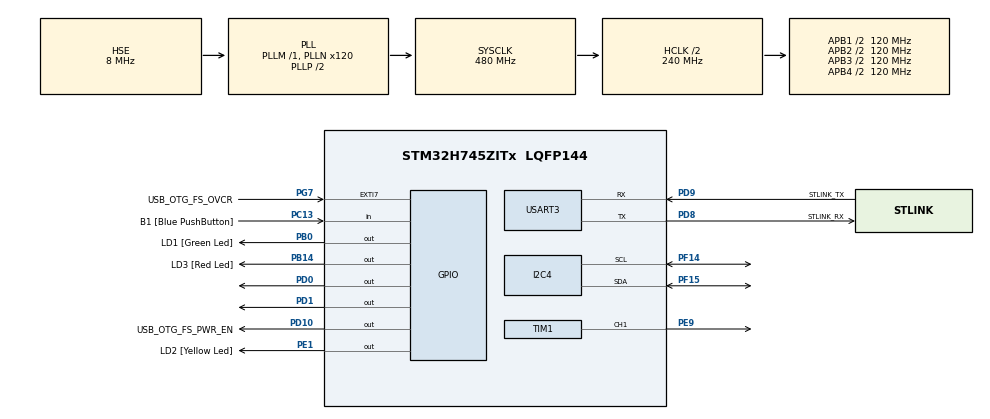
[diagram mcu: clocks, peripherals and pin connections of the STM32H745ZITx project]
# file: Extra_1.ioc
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CortexM4.IPs=FATFS_M4\:I,FREERTOS_M4\:I,IWDG2\:I,RCC,WWDG2\:I,DMA,BDMA,MDMA,NVIC2\:I,DEBUG,USB_DEVICE_M4\:I,USB_HOST_M4\:I,PDM2PCM_M4\:I,PWR,RESMGR_UTILITY,SYS_M4\:I,CORTEX_M4\:I,OPENAMP_M4\:I,VREFBUF,GPIO
CortexM7.IPs=FATFS_M7\:I,FREERTOS_M7\:I,IWDG1\:I,RCC\:I,WWDG1\:I,DMA\:I,BDMA\:I,MDMA\:I,NVIC1\:I,SYS\:I,USART3\:I,CORTEX_M7\:I,DEBUG\:I,USB_DEVICE_M7\:I,USB_HOST_M7\:I,PDM2PCM_M7\:I,PWR\:I,RESMGR_UTILITY\:I,OPENAMP_M7\:I,VREFBUF\:I,GPIO\:I,TIM1\:I,TIM2\:I,TIM5\:I,I2C4\:I
CortexM7.Pins=PB0,PB14,PD0,PD1,PE1
I2C4.Timing=0x307075B1
Mcu.Family=STM32H7
Mcu.Name=STM32H745ZITx
Mcu.Package=LQFP144
NVIC1.PriorityGroup=NVIC_PRIORITYGROUP_4
NVIC1.TIM2_IRQn=true\:0\:0\:false\:false\:true\:true\:true\:true
NVIC2.PriorityGroup=NVIC_PRIORITYGROUP_4
PA1.PinAttribute=CortexM7
PA1.Signal=ETH_REF_CLK
PA11.PinAttribute=CortexM7
PA11.Signal=USB_OTG_FS_DM
PA12.PinAttribute=CortexM7
PA12.Signal=USB_OTG_FS_DP
PA2.PinAttribute=CortexM7
PA2.Signal=ETH_MDIO
PA7.PinAttribute=CortexM7
PA7.Signal=ETH_CRS_DV
PA8.PinAttribute=CortexM7
PA8.Signal=USB_OTG_FS_SOF
PA9.PinAttribute=CortexM7
PA9.Signal=USB_OTG_FS_VBUS
PB0.GPIO_Label=LD1 [Green Led]
PB0.GPIO_PuPd=GPIO_PULLDOWN
PB0.GPIO_Speed=GPIO_SPEED_FREQ_HIGH
PB0.PinAttribute=CortexM7
PB0.Signal=GPIO_Output
PB13.PinAttribute=CortexM7
PB13.Signal=ETH_TXD1
PB14.GPIO_Label=LD3 [Red Led]
PB14.GPIO_PuPd=GPIO_PULLDOWN
PB14.GPIO_Speed=GPIO_SPEED_FREQ_HIGH
PB14.PinAttribute=CortexM7
PB14.Signal=GPIO_Output
PC1.PinAttribute=CortexM7
PC1.Signal=ETH_MDC
PC13.GPIO_Label=B1 [Blue PushButton]
PC13.PinAttribute=Free
PC13.Signal=GPIO_Input
PC14-OSC32_IN\ (OSC32_IN).Mode=LSE-External-Oscillator
PC14-OSC32_IN\ (OSC32_IN).PinAttribute=CortexM7
PC14-OSC32_IN\ (OSC32_IN).Signal=RCC_OSC32_IN
PC15-OSC32_OUT\ (OSC32_OUT).Mode=LSE-External-Oscillator
PC15-OSC32_OUT\ (OSC32_OUT).PinAttribute=CortexM7
PC15-OSC32_OUT\ (OSC32_OUT).Signal=RCC_OSC32_OUT
PC4.PinAttribute=CortexM7
PC4.Signal=ETH_RXD0
PC5.PinAttribute=CortexM7
PC5.Signal=ETH_RXD1
PD0.GPIO_PuPd=GPIO_PULLDOWN
PD0.GPIO_Speed=GPIO_SPEED_FREQ_HIGH
PD0.PinAttribute=CortexM7
PD0.Signal=GPIO_Output
PD1.GPIO_PuPd=GPIO_PULLDOWN
PD1.GPIO_Speed=GPIO_SPEED_FREQ_HIGH
PD1.PinAttribute=CortexM7
PD1.Signal=GPIO_Output
PD10.GPIO_Label=USB_OTG_FS_PWR_EN
PD10.PinAttribute=Free
PD10.Signal=GPIO_Output
PD8.GPIO_Label=STLINK_RX
PD8.Mode=Asynchronous
PD8.PinAttribute=CortexM7
PD8.Signal=USART3_TX
PD9.GPIO_Label=STLINK_TX
PD9.Mode=Asynchronous
PD9.PinAttribute=CortexM7
PD9.Signal=USART3_RX
PE1.GPIO_Label=LD2 [Yellow Led]
PE1.GPIO_PuPd=GPIO_PULLDOWN
PE1.GPIO_Speed=GPIO_SPEED_FREQ_HIGH
PE1.PinAttribute=CortexM7
PE1.Signal=GPIO_Output
PE9.PinAttribute=CortexM7
PE9.Signal=S_TIM1_CH1
PF14.Mode=I2C
PF14.PinAttribute=CortexM7
PF14.Signal=I2C4_SCL
PF15.Mode=I2C
PF15.PinAttribute=CortexM7
PF15.Signal=I2C4_SDA
PG11.PinAttribute=CortexM7
PG11.Signal=ETH_TX_EN
PG13.PinAttribute=CortexM7
PG13.Signal=ETH_TXD0
PG7.GPIO_Label=USB_OTG_FS_OVCR
PG7.PinAttribute=Free
PG7.Signal=GPXTI7
PH0-OSC_IN\ (PH0).Mode=HSE-External-Clock-Source
PH0-OSC_IN\ (PH0).PinAttribute=CortexM7
PH0-OSC_IN\ (PH0).Signal=RCC_OSC_IN
PH1-OSC_OUT\ (PH1).PinAttribute=CortexM7
PH1-OSC_OUT\ (PH1).Signal=RCC_OSC_OUT
ProjectManager.HeapSize=M4-0x200,M7-0x200
ProjectManager.StackSize=M4-0x400,M7-0x400
ProjectManager.TargetToolchain=STM32CubeIDE
RCC.ADCFreq_Value=16125000
RCC.APB1Freq_Value=120000000
RCC.APB2Freq_Value=120000000
RCC.APB3Freq_Value=120000000
RCC.APB4Freq_Value=120000000
RCC.CortexFreq_Value=480000000
RCC.D1PPRE=RCC_APB3_DIV2
RCC.D2PPRE1=RCC_APB1_DIV2
RCC.D2PPRE2=RCC_APB2_DIV2
RCC.D3PPRE=RCC_APB4_DIV2
RCC.DIVM1=1
RCC.DIVM3=1
RCC.DIVN1=120
RCC.DIVN3=24
RCC.DIVQ3=4
RCC.HCLKFreq_Value=240000000
RCC.HPRE=RCC_HCLK_DIV2
RCC.HSE_VALUE=8000000
RCC.PLL2FRACN=0
RCC.PLL3FRACN=0
RCC.PLLFRACN=0
RCC.PLLSourceVirtual=RCC_PLLSOURCE_HSE
RCC.SYSCLKFreq_VALUE=480000000
RCC.SYSCLKSource=RCC_SYSCLKSOURCE_PLLCLK
RCC.SupplySource=PWR_DIRECT_SMPS_SUPPLY
RCC.USBCLockSelection=RCC_USBCLKSOURCE_PLL3
RCC.USBFreq_Value=48000000
SH.S_TIM1_CH1.0=TIM1_CH1,PWM Generation1 CH1
TIM1.Channel-PWM\ Generation1\ CH1=TIM_CHANNEL_1
TIM1.Period=100
TIM1.Prescaler=240
TIM2.Period=15625
TIM2.Prescaler=239
TIM5.Prescaler=230
USART3.VirtualMode-Asynchronous=VM_ASYNC
VP_SYS_M4_VS_Systick.Mode=SysTick
VP_TIM1_VS_ClockSourceINT.Mode=Internal
VP_TIM2_VS_ClockSourceINT.Mode=Internal
VP_TIM5_VS_ClockSourceINT.Mode=Internal
board=NUCLEO-H745ZI-Q

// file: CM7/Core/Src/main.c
/* USER CODE BEGIN Header */
/**
  ******************************************************************************
  * @file           : main.c
  * @brief          : Main program body
  ******************************************************************************
  * @attention
  *
  * Copyright (c) 2022 STMicroelectronics.
  * All rights reserved.
  *
  * This software is licensed under terms that can be found in the LICENSE file
  * in the root directory of this software component.
  * If no LICENSE file comes with this software, it is provided AS-IS.
  *
  ******************************************************************************
  */
/* USER CODE END Header */
#include "main.h"

/* USER CODE BEGIN Includes */
#include "fft.h"
#include <stdio.h>
#include <stdlib.h>
#include <string.h>
#include <math.h>
#include <complex.h>
/* USER CODE END Includes */

/* USER CODE BEGIN PTD */
#define MPU6050_ADDR 0xD0
#define WHO_AM_I 0x75
#define SMPLRT_DIV 0x19
#define GYRO_CONFIG 0x1B
#define GYRO_XOUT_H 0x43
#define PWR_MGMT_1 0x6B
/* USER CODE END PTD */

/* USER CODE BEGIN PD */

#ifndef HSEM_ID_0
#define HSEM_ID_0 (0U) /* HW semaphore 0*/
#endif
/* USER CODE END PD */

I2C_HandleTypeDef hi2c4;

TIM_HandleTypeDef htim1;
TIM_HandleTypeDef htim2;
TIM_HandleTypeDef htim5;

UART_HandleTypeDef huart3;

/* USER CODE BEGIN PV */
// Definción de variables complejas para la FFT
typedef float complex cplx;
cplx xFFT[64];
cplx yFFT[64];
cplx zFFT[64];

// Lectura del MPU6050
uint8_t check, data;

int16_t gyr_X_read = 0;
int16_t gyr_Y_read = 0;
int16_t gyr_Z_read = 0;

float gyr_X, gyr_Y, gyr_Z;

// Variables para el muestreo
int16_t limite_muestras = 64;
int16_t n_muestras = 0;
float muestras_x[64],  muestras_y[64], muestras_z[64];

// Variables UART
char uart_buf[50];
uint16_t uart_buf_len;

// Variables de comprobación de tiempo
unsigned timer_val;
/* USER CODE END PV */

void SystemClock_Config(void);
static void MX_GPIO_Init(void);
static void MX_USART3_UART_Init(void);
static void MX_TIM1_Init(void);
static void MX_TIM2_Init(void);
static void MX_I2C4_Init(void);
static void MX_TIM5_Init(void);
/* USER CODE BEGIN PFP */
static void MPU6050_init(void);
static void MPU6050_read_gyro(void);
static void printUART_int(char *string, int var);
static void printUART_array(float *arr, int size);
static void printUART_arrayCplx(cplx *arr, int size);
/* USER CODE END PFP */

int main(void)
{
/* USER CODE BEGIN Boot_Mode_Sequence_0 */
  int32_t timeout;
/* USER CODE END Boot_Mode_Sequence_0 */

/* USER CODE BEGIN Boot_Mode_Sequence_1 */
  /* Wait until CPU2 boots and enters in stop mode or timeout*/
  timeout = 0xFFFF;
  while((__HAL_RCC_GET_FLAG(RCC_FLAG_D2CKRDY) != RESET) && (timeout-- > 0));
  if ( timeout < 0 )
  {
  Error_Handler();
  }
/* USER CODE END Boot_Mode_Sequence_1 */
  /* MCU Configuration--------------------------------------------------------*/

  /* Reset of all peripherals, Initializes the Flash interface and the Systick. */
  HAL_Init();

  /* Configure the system clock */
  SystemClock_Config();
/* USER CODE BEGIN Boot_Mode_Sequence_2 */
/* When system initialization is finished, Cortex-M7 will release Cortex-M4 by means of
HSEM notification */
/*HW semaphore Clock enable*/
__HAL_RCC_HSEM_CLK_ENABLE();
/*Take HSEM */
HAL_HSEM_FastTake(HSEM_ID_0);
/*Release HSEM in order to notify the CPU2(CM4)*/
HAL_HSEM_Release(HSEM_ID_0,0);
/* wait until CPU2 wakes up from stop mode */
timeout = 0xFFFF;
while((__HAL_RCC_GET_FLAG(RCC_FLAG_D2CKRDY) == RESET) && (timeout-- > 0));
if ( timeout < 0 )
{
Error_Handler();
}
/* USER CODE END Boot_Mode_Sequence_2 */

  /* Initialize all configured peripherals */
  MX_GPIO_Init();
  MX_USART3_UART_Init();
  MX_TIM1_Init();
  MX_TIM2_Init();
  MX_I2C4_Init();
  MX_TIM5_Init();
  /* USER CODE BEGIN 2 */
  // Revisión de conexión del MPU6050
  HAL_StatusTypeDef status;
  status = HAL_I2C_IsDeviceReady(&hi2c4, MPU6050_ADDR, 1, 3000);
  if (status == HAL_OK) HAL_GPIO_WritePin(GPIOB, GPIO_PIN_0, SET);
  else HAL_GPIO_WritePin(GPIOB, GPIO_PIN_14, SET);
  HAL_Delay(500);
  MPU6050_init();								/* Inicialización  de configuración
      	  	  	  	  	  	  	  	  	  	  	  del MPU6050 */

  // Inicialización del contador
  HAL_TIM_Base_Start(&htim5); 					// Incialización del timer 5

  // Inicialización del PWM
  HAL_TIM_PWM_Init(&htim1);
  HAL_TIM_PWM_Start(&htim1, TIM_CHANNEL_1);
  TIM1->CCR1 = 70;								// 70% de ciclo útil

  // Entradas de polaridad del L298N
  HAL_GPIO_WritePin(GPIOD, GPIO_PIN_0, SET);	// In 1
  HAL_GPIO_WritePin(GPIOD, GPIO_PIN_1, RESET);	// In 2

  // Prueba de comunicación UART
  printUART_int("MPU6050 test\r\n", 0);

  // Inicialización de la interrupción por timer
  HAL_TIM_Base_Start_IT(&htim2);				// Inicialización del timer 2

  /* USER CODE END 2 */

  /* Infinite loop */
  while (1)
  {

    /* USER CODE BEGIN 3 */
	  if(n_muestras == limite_muestras){
	  		  printUART_int("Muestras: %u \r\n", n_muestras);	// Comprobación del número de muestras
	  		  HAL_TIM_Base_Stop_IT(&htim2);					  	// Desactivación de la interrupción
	  		  HAL_Delay(50);

	  		  // Comprobación del tiempo de muestreo
	  		  timer_val = __HAL_TIM_GET_COUNTER(&htim5) - timer_val;
	  		  printUART_int("Tiempo transcurrido: %u us \r\n", timer_val);

	  		  // Impresión de las muestras originales
	  		  printUART_int("Eje X: ", 0);
	  		  printUART_array(muestras_x, sizeof(muestras_x)/sizeof(muestras_x[0]));
	  		  printUART_int("Eje Y: ", 0);
	  		  printUART_array(muestras_y, sizeof(muestras_y)/sizeof(muestras_y[0]));
	  		  printUART_int("Eje Z: ", 0);
	  		  printUART_array(muestras_z, sizeof(muestras_z)/sizeof(muestras_z[0]));

	  		  // Cálculo de la transformada rápida de Fourier
	  		  fft(muestras_x, sizeof(muestras_x)/sizeof(muestras_x[0]), xFFT);
	  		  HAL_Delay(50);
	  		  fft(muestras_y, sizeof(muestras_y)/sizeof(muestras_y[0]), yFFT);
	  		  HAL_Delay(50);
	  		  fft(muestras_z, sizeof(muestras_z)/sizeof(muestras_z[0]), zFFT);
	  		  HAL_Delay(50);

	  		  // Impresión de las transformadas de Fourier
	  		  printUART_int("FFT X: ", 0);
	  		  printUART_arrayCplx(xFFT, sizeof(muestras_x)/sizeof(muestras_x[0]));
	  		  printUART_int("FFT Y: ", 0);
	  		  printUART_arrayCplx(yFFT, sizeof(muestras_y)/sizeof(muestras_y[0]));
	  		  printUART_int("FFT Z: ", 0);
	  		  printUART_arrayCplx(zFFT, sizeof(muestras_z)/sizeof(muestras_z[0]));
	  		  HAL_Delay(50);

	  		  n_muestras = 0;									// Reinicio del contador de muestras
	  		  HAL_TIM_Base_Start_IT(&htim2);					// Reinicio de la interrupción
	  	  }
  }
  /* USER CODE END 3 */
}

void SystemClock_Config(void)
{
  RCC_OscInitTypeDef RCC_OscInitStruct = {0};
  RCC_ClkInitTypeDef RCC_ClkInitStruct = {0};

  /** Supply configuration update enable
  */
  HAL_PWREx_ConfigSupply(PWR_DIRECT_SMPS_SUPPLY);

  /** Configure the main internal regulator output voltage
  */
  __HAL_PWR_VOLTAGESCALING_CONFIG(PWR_REGULATOR_VOLTAGE_SCALE0);

  while(!__HAL_PWR_GET_FLAG(PWR_FLAG_VOSRDY)) {}

  /** Initializes the RCC Oscillators according to the specified parameters
  * in the RCC_OscInitTypeDef structure.
  */
  RCC_OscInitStruct.OscillatorType = RCC_OSCILLATORTYPE_HSE;
  RCC_OscInitStruct.HSEState = RCC_HSE_BYPASS;
  RCC_OscInitStruct.PLL.PLLState = RCC_PLL_ON;
  RCC_OscInitStruct.PLL.PLLSource = RCC_PLLSOURCE_HSE;
  RCC_OscInitStruct.PLL.PLLM = 1;
  RCC_OscInitStruct.PLL.PLLN = 120;
  RCC_OscInitStruct.PLL.PLLP = 2;
  RCC_OscInitStruct.PLL.PLLQ = 2;
  RCC_OscInitStruct.PLL.PLLR = 2;
  RCC_OscInitStruct.PLL.PLLRGE = RCC_PLL1VCIRANGE_3;
  RCC_OscInitStruct.PLL.PLLVCOSEL = RCC_PLL1VCOWIDE;
  RCC_OscInitStruct.PLL.PLLFRACN = 0;
  if (HAL_RCC_OscConfig(&RCC_OscInitStruct) != HAL_OK)
  {
    Error_Handler();
  }

  /** Initializes the CPU, AHB and APB buses clocks
  */
  RCC_ClkInitStruct.ClockType = RCC_CLOCKTYPE_HCLK|RCC_CLOCKTYPE_SYSCLK
                              |RCC_CLOCKTYPE_PCLK1|RCC_CLOCKTYPE_PCLK2
                              |RCC_CLOCKTYPE_D3PCLK1|RCC_CLOCKTYPE_D1PCLK1;
  RCC_ClkInitStruct.SYSCLKSource = RCC_SYSCLKSOURCE_PLLCLK;
  RCC_ClkInitStruct.SYSCLKDivider = RCC_SYSCLK_DIV1;
  RCC_ClkInitStruct.AHBCLKDivider = RCC_HCLK_DIV2;
  RCC_ClkInitStruct.APB3CLKDivider = RCC_APB3_DIV2;
  RCC_ClkInitStruct.APB1CLKDivider = RCC_APB1_DIV2;
  RCC_ClkInitStruct.APB2CLKDivider = RCC_APB2_DIV2;
  RCC_ClkInitStruct.APB4CLKDivider = RCC_APB4_DIV2;

  if (HAL_RCC_ClockConfig(&RCC_ClkInitStruct, FLASH_LATENCY_4) != HAL_OK)
  {
    Error_Handler();
  }
}

static void MX_I2C4_Init(void)
{

  hi2c4.Instance = I2C4;
  hi2c4.Init.Timing = 0x307075B1;
  hi2c4.Init.OwnAddress1 = 0;
  hi2c4.Init.AddressingMode = I2C_ADDRESSINGMODE_7BIT;
  hi2c4.Init.DualAddressMode = I2C_DUALADDRESS_DISABLE;
  hi2c4.Init.OwnAddress2 = 0;
  hi2c4.Init.OwnAddress2Masks = I2C_OA2_NOMASK;
  hi2c4.Init.GeneralCallMode = I2C_GENERALCALL_DISABLE;
  hi2c4.Init.NoStretchMode = I2C_NOSTRETCH_DISABLE;
  if (HAL_I2C_Init(&hi2c4) != HAL_OK)
  {
    Error_Handler();
  }

  /** Configure Analogue filter
  */
  if (HAL_I2CEx_ConfigAnalogFilter(&hi2c4, I2C_ANALOGFILTER_ENABLE) != HAL_OK)
  {
    Error_Handler();
  }

  /** Configure Digital filter
  */
  if (HAL_I2CEx_ConfigDigitalFilter(&hi2c4, 0) != HAL_OK)
  {
    Error_Handler();
  }

}

static void MX_TIM1_Init(void)
{

  TIM_ClockConfigTypeDef sClockSourceConfig = {0};
  TIM_MasterConfigTypeDef sMasterConfig = {0};
  TIM_OC_InitTypeDef sConfigOC = {0};
  TIM_BreakDeadTimeConfigTypeDef sBreakDeadTimeConfig = {0};

  htim1.Instance = TIM1;
  htim1.Init.Prescaler = 240;
  htim1.Init.CounterMode = TIM_COUNTERMODE_UP;
  htim1.Init.Period = 100;
  htim1.Init.ClockDivision = TIM_CLOCKDIVISION_DIV1;
  htim1.Init.RepetitionCounter = 0;
  htim1.Init.AutoReloadPreload = TIM_AUTORELOAD_PRELOAD_DISABLE;
  if (HAL_TIM_Base_Init(&htim1) != HAL_OK)
  {
    Error_Handler();
  }
  sClockSourceConfig.ClockSource = TIM_CLOCKSOURCE_INTERNAL;
  if (HAL_TIM_ConfigClockSource(&htim1, &sClockSourceConfig) != HAL_OK)
  {
    Error_Handler();
  }
  if (HAL_TIM_PWM_Init(&htim1) != HAL_OK)
  {
    Error_Handler();
  }
  sMasterConfig.MasterOutputTrigger = TIM_TRGO_RESET;
  sMasterConfig.MasterOutputTrigger2 = TIM_TRGO2_RESET;
  sMasterConfig.MasterSlaveMode = TIM_MASTERSLAVEMODE_DISABLE;
  if (HAL_TIMEx_MasterConfigSynchronization(&htim1, &sMasterConfig) != HAL_OK)
  {
    Error_Handler();
  }
  sConfigOC.OCMode = TIM_OCMODE_PWM1;
  sConfigOC.Pulse = 0;
  sConfigOC.OCPolarity = TIM_OCPOLARITY_HIGH;
  sConfigOC.OCNPolarity = TIM_OCNPOLARITY_HIGH;
  sConfigOC.OCFastMode = TIM_OCFAST_DISABLE;
  sConfigOC.OCIdleState = TIM_OCIDLESTATE_RESET;
  sConfigOC.OCNIdleState = TIM_OCNIDLESTATE_RESET;
  if (HAL_TIM_PWM_ConfigChannel(&htim1, &sConfigOC, TIM_CHANNEL_1) != HAL_OK)
  {
    Error_Handler();
  }
  sBreakDeadTimeConfig.OffStateRunMode = TIM_OSSR_DISABLE;
  sBreakDeadTimeConfig.OffStateIDLEMode = TIM_OSSI_DISABLE;
  sBreakDeadTimeConfig.LockLevel = TIM_LOCKLEVEL_OFF;
  sBreakDeadTimeConfig.DeadTime = 0;
  sBreakDeadTimeConfig.BreakState = TIM_BREAK_DISABLE;
  sBreakDeadTimeConfig.BreakPolarity = TIM_BREAKPOLARITY_HIGH;
  sBreakDeadTimeConfig.BreakFilter = 0;
  sBreakDeadTimeConfig.Break2State = TIM_BREAK2_DISABLE;
  sBreakDeadTimeConfig.Break2Polarity = TIM_BREAK2POLARITY_HIGH;
  sBreakDeadTimeConfig.Break2Filter = 0;
  sBreakDeadTimeConfig.AutomaticOutput = TIM_AUTOMATICOUTPUT_DISABLE;
  if (HAL_TIMEx_ConfigBreakDeadTime(&htim1, &sBreakDeadTimeConfig) != HAL_OK)
  {
    Error_Handler();
  }
  HAL_TIM_MspPostInit(&htim1);

}

static void MX_TIM2_Init(void)
{

  TIM_ClockConfigTypeDef sClockSourceConfig = {0};
  TIM_MasterConfigTypeDef sMasterConfig = {0};

  htim2.Instance = TIM2;
  htim2.Init.Prescaler = 239;
  htim2.Init.CounterMode = TIM_COUNTERMODE_UP;
  htim2.Init.Period = 15625;
  htim2.Init.ClockDivision = TIM_CLOCKDIVISION_DIV1;
  htim2.Init.AutoReloadPreload = TIM_AUTORELOAD_PRELOAD_DISABLE;
  if (HAL_TIM_Base_Init(&htim2) != HAL_OK)
  {
    Error_Handler();
  }
  sClockSourceConfig.ClockSource = TIM_CLOCKSOURCE_INTERNAL;
  if (HAL_TIM_ConfigClockSource(&htim2, &sClockSourceConfig) != HAL_OK)
  {
    Error_Handler();
  }
  sMasterConfig.MasterOutputTrigger = TIM_TRGO_RESET;
  sMasterConfig.MasterSlaveMode = TIM_MASTERSLAVEMODE_DISABLE;
  if (HAL_TIMEx_MasterConfigSynchronization(&htim2, &sMasterConfig) != HAL_OK)
  {
    Error_Handler();
  }

}

static void MX_TIM5_Init(void)
{

  TIM_ClockConfigTypeDef sClockSourceConfig = {0};
  TIM_MasterConfigTypeDef sMasterConfig = {0};

  htim5.Instance = TIM5;
  htim5.Init.Prescaler = 230;
  htim5.Init.CounterMode = TIM_COUNTERMODE_UP;
  htim5.Init.Period = 4294967295;
  htim5.Init.ClockDivision = TIM_CLOCKDIVISION_DIV1;
  htim5.Init.AutoReloadPreload = TIM_AUTORELOAD_PRELOAD_DISABLE;
  if (HAL_TIM_Base_Init(&htim5) != HAL_OK)
  {
    Error_Handler();
  }
  sClockSourceConfig.ClockSource = TIM_CLOCKSOURCE_INTERNAL;
  if (HAL_TIM_ConfigClockSource(&htim5, &sClockSourceConfig) != HAL_OK)
  {
    Error_Handler();
  }
  sMasterConfig.MasterOutputTrigger = TIM_TRGO_RESET;
  sMasterConfig.MasterSlaveMode = TIM_MASTERSLAVEMODE_DISABLE;
  if (HAL_TIMEx_MasterConfigSynchronization(&htim5, &sMasterConfig) != HAL_OK)
  {
    Error_Handler();
  }

}

static void MX_USART3_UART_Init(void)
{

  huart3.Instance = USART3;
  huart3.Init.BaudRate = 115200;
  huart3.Init.WordLength = UART_WORDLENGTH_8B;
  huart3.Init.StopBits = UART_STOPBITS_1;
  huart3.Init.Parity = UART_PARITY_NONE;
  huart3.Init.Mode = UART_MODE_TX_RX;
  huart3.Init.HwFlowCtl = UART_HWCONTROL_NONE;
  huart3.Init.OverSampling = UART_OVERSAMPLING_16;
  huart3.Init.OneBitSampling = UART_ONE_BIT_SAMPLE_DISABLE;
  huart3.Init.ClockPrescaler = UART_PRESCALER_DIV1;
  huart3.AdvancedInit.AdvFeatureInit = UART_ADVFEATURE_NO_INIT;
  if (HAL_UART_Init(&huart3) != HAL_OK)
  {
    Error_Handler();
  }
  if (HAL_UARTEx_SetTxFifoThreshold(&huart3, UART_TXFIFO_THRESHOLD_1_8) != HAL_OK)
  {
    Error_Handler();
  }
  if (HAL_UARTEx_SetRxFifoThreshold(&huart3, UART_RXFIFO_THRESHOLD_1_8) != HAL_OK)
  {
    Error_Handler();
  }
  if (HAL_UARTEx_DisableFifoMode(&huart3) != HAL_OK)
  {
    Error_Handler();
  }

}

static void MX_GPIO_Init(void)
{
  GPIO_InitTypeDef GPIO_InitStruct = {0};

  /* GPIO Ports Clock Enable */
  __HAL_RCC_GPIOC_CLK_ENABLE();
  __HAL_RCC_GPIOH_CLK_ENABLE();
  __HAL_RCC_GPIOB_CLK_ENABLE();
  __HAL_RCC_GPIOF_CLK_ENABLE();
  __HAL_RCC_GPIOE_CLK_ENABLE();
  __HAL_RCC_GPIOD_CLK_ENABLE();

  /*Configure GPIO pin Output Level */
  HAL_GPIO_WritePin(GPIOB, LD1_Pin|LD3_Pin, GPIO_PIN_RESET);

  /*Configure GPIO pin Output Level */
  HAL_GPIO_WritePin(GPIOD, GPIO_PIN_0|GPIO_PIN_1, GPIO_PIN_RESET);

  /*Configure GPIO pin Output Level */
  HAL_GPIO_WritePin(LD2_GPIO_Port, LD2_Pin, GPIO_PIN_RESET);

  /*Configure GPIO pins : LD1_Pin LD3_Pin */
  GPIO_InitStruct.Pin = LD1_Pin|LD3_Pin;
  GPIO_InitStruct.Mode = GPIO_MODE_OUTPUT_PP;
  GPIO_InitStruct.Pull = GPIO_PULLDOWN;
  GPIO_InitStruct.Speed = GPIO_SPEED_FREQ_HIGH;
  HAL_GPIO_Init(GPIOB, &GPIO_InitStruct);

  /*Configure GPIO pins : PD0 PD1 */
  GPIO_InitStruct.Pin = GPIO_PIN_0|GPIO_PIN_1;
  GPIO_InitStruct.Mode = GPIO_MODE_OUTPUT_PP;
  GPIO_InitStruct.Pull = GPIO_PULLDOWN;
  GPIO_InitStruct.Speed = GPIO_SPEED_FREQ_HIGH;
  HAL_GPIO_Init(GPIOD, &GPIO_InitStruct);

  /*Configure GPIO pin : LD2_Pin */
  GPIO_InitStruct.Pin = LD2_Pin;
  GPIO_InitStruct.Mode = GPIO_MODE_OUTPUT_PP;
  GPIO_InitStruct.Pull = GPIO_PULLDOWN;
  GPIO_InitStruct.Speed = GPIO_SPEED_FREQ_HIGH;
  HAL_GPIO_Init(LD2_GPIO_Port, &GPIO_InitStruct);

}

/* USER CODE BEGIN 4 */
void MPU6050_init(void){
	HAL_I2C_Mem_Read(&hi2c4, MPU6050_ADDR, WHO_AM_I, 1, &check, 1, 3000);
	printUART_int("Dirección: %u \r\n", check);
	HAL_Delay(1000);

	data = 0x00;
	HAL_I2C_Mem_Write(&hi2c4, MPU6050_ADDR, PWR_MGMT_1, 1, &data, 1, 3000);
	data = 0b10000011;
	HAL_I2C_Mem_Write(&hi2c4, MPU6050_ADDR, SMPLRT_DIV, 1, &data, 1, 3000);
	data = 0x00;
	HAL_I2C_Mem_Write(&hi2c4, MPU6050_ADDR, GYRO_CONFIG, 1, &data, 1, 3000);
}

/*
 * Lectura de los registros del giroscopio del MPU6050
 */
void MPU6050_read_gyro(void){
	uint8_t read_gyro[6];

	HAL_I2C_Mem_Read(&hi2c4, MPU6050_ADDR, GYRO_XOUT_H, 1, read_gyro, 6, 3000);

	gyr_X_read = (int16_t)(read_gyro[0] << 8 | read_gyro[1]);
	gyr_Y_read = (int16_t)(read_gyro[2] << 8 | read_gyro[3]);
	gyr_Z_read = (int16_t)(read_gyro[4] << 8 | read_gyro[5]);

	gyr_X = gyr_X_read/131.0;
	gyr_Y = gyr_Y_read/131.0;
	gyr_Z = gyr_Z_read/131.0;
}

/*
 * Interrupción TIM2, 64 por segundo
 */
void HAL_TIM_PeriodElapsedCallback(TIM_HandleTypeDef *htim){
	if (htim == &htim2)
	{
		if(n_muestras == 0) timer_val = __HAL_TIM_GET_COUNTER(&htim5);
		HAL_GPIO_TogglePin(GPIOB, GPIO_PIN_14);
		MPU6050_read_gyro();

		// Guardado de muestras en los arreglos
		muestras_x[n_muestras] = gyr_X;
		muestras_y[n_muestras] = gyr_Y;
		muestras_z[n_muestras] = gyr_Z;

		n_muestras++;
	}
}

/*
 * Función de impresión por UART
 */
void printUART_int(char *string, int var){
	uart_buf_len = sprintf(uart_buf, string, var);
	HAL_UART_Transmit(&huart3, (uint8_t *)uart_buf, uart_buf_len, 100);
}
/*
 * Función de impresión por UART en formato
 */
void printUART_array(float *arr, int size){
	for(int i = 0; i < size; i++){
		uart_buf_len = sprintf(uart_buf, "%.5f, ", arr[i]);
		HAL_UART_Transmit(&huart3, (uint8_t *)uart_buf, uart_buf_len, 100);
	}
	printUART_int("\r\n", 0);
}
void printUART_arrayCplx(cplx *arr, int size){
	for(int i = 0; i < size; i++){
		uart_buf_len = sprintf(uart_buf, "%.5f + %.5fj, ", creal(arr[i]), cimag(arr[i]));
		HAL_UART_Transmit(&huart3, (uint8_t *)uart_buf, uart_buf_len, 100);
	}
	printUART_int("\r\n", 0);
}
/* USER CODE END 4 */

void Error_Handler(void)
{
  __disable_irq();
  while (1)
  {
  }
}
